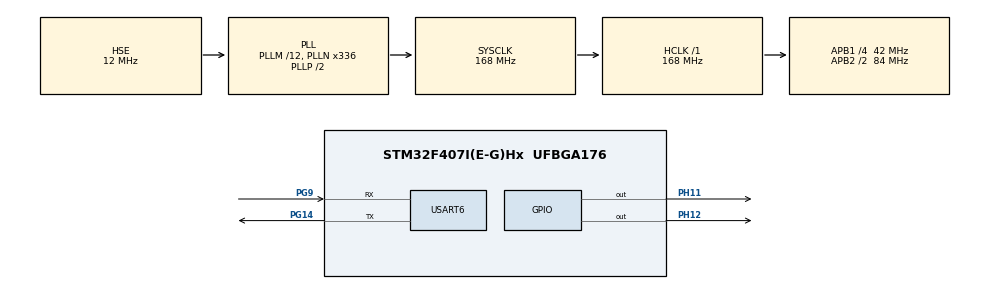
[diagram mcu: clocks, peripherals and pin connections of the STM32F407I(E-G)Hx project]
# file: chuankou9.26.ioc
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Mcu.Family=STM32F4
Mcu.Name=STM32F407I(E-G)Hx
Mcu.Package=UFBGA176
NVIC.PriorityGroup=NVIC_PRIORITYGROUP_4
NVIC.USART6_IRQn=true\:0\:0\:false\:false\:true\:true\:true\:true
PA13.Mode=Serial_Wire
PA13.Signal=SYS_JTMS-SWDIO
PA14.Mode=Serial_Wire
PA14.Signal=SYS_JTCK-SWCLK
PG14.Mode=Asynchronous
PG14.Signal=USART6_TX
PG9.Mode=Asynchronous
PG9.Signal=USART6_RX
PH0-OSC_IN.Mode=HSE-External-Oscillator
PH0-OSC_IN.Signal=RCC_OSC_IN
PH1-OSC_OUT.Mode=HSE-External-Oscillator
PH1-OSC_OUT.Signal=RCC_OSC_OUT
PH11.PinState=GPIO_PIN_SET
PH11.Signal=GPIO_Output
PH12.PinState=GPIO_PIN_SET
PH12.Signal=GPIO_Output
ProjectManager.HeapSize=0x200
ProjectManager.StackSize=0x400
ProjectManager.TargetToolchain=CMake
RCC.48MHZClocksFreq_Value=84000000
RCC.AHBFreq_Value=168000000
RCC.APB1CLKDivider=RCC_HCLK_DIV4
RCC.APB1Freq_Value=42000000
RCC.APB1TimFreq_Value=84000000
RCC.APB2CLKDivider=RCC_HCLK_DIV2
RCC.APB2Freq_Value=84000000
RCC.APB2TimFreq_Value=168000000
RCC.CortexFreq_Value=168000000
RCC.HCLKFreq_Value=168000000
RCC.HSE_VALUE=12000000
RCC.HSI_VALUE=16000000
RCC.LSE_VALUE=32768
RCC.PLLM=12
RCC.PLLN=336
RCC.PLLSourceVirtual=RCC_PLLSOURCE_HSE
RCC.SYSCLKFreq_VALUE=168000000
RCC.SYSCLKSource=RCC_SYSCLKSOURCE_PLLCLK
RCC.VCOOutputFreq_Value=336000000
USART6.VirtualMode=VM_ASYNC
board=custom

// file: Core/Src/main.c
/* USER CODE BEGIN Header */
/**
  ******************************************************************************
  * @file           : main.c
  * @brief          : Main program body
  ******************************************************************************
  * @attention
  *
  * Copyright (c) 2026 STMicroelectronics.
  * All rights reserved.
  *
  * This software is licensed under terms that can be found in the LICENSE file
  * in the root directory of this software component.
  * If no LICENSE file comes with this software, it is provided AS-IS.
  *
  ******************************************************************************
  */
/* USER CODE END Header */
#include "main.h"

UART_HandleTypeDef huart6;

/* USER CODE BEGIN PV */
uint8_t rx_byte;
/* USER CODE END PV */

void SystemClock_Config(void);
static void MX_GPIO_Init(void);
static void MX_USART6_UART_Init(void);

/* USER CODE BEGIN 0 */
#include <string.h> // 用于 strlen
/* USER CODE END 0 */

int main(void)
{

  /* MCU Configuration--------------------------------------------------------*/

  /* Reset of all peripherals, Initializes the Flash interface and the Systick. */
  HAL_Init();

  /* Configure the system clock */
  SystemClock_Config();

  /* Initialize all configured peripherals */
  MX_GPIO_Init();
  MX_USART6_UART_Init();
  /* USER CODE BEGIN 2 */
  char message[] = "Hello World!";
   uint8_t rx_byte;
  //  HAL_UART_Receive_IT(&huart6, &rx_byte, 1);
  /* USER CODE END 2 */

  /* Infinite loop */
  /* USER CODE BEGIN WHILE */
  while (1)
  {
    HAL_UART_Transmit(&huart6, (uint8_t*)message, sizeof(message)-1, 100);
    HAL_Delay(1000);
      HAL_GPIO_WritePin(GPIOH, GPIO_PIN_12, GPIO_PIN_RESET); // 红灯亮
    HAL_GPIO_WritePin(GPIOH, GPIO_PIN_11, GPIO_PIN_SET);   // 绿灯灭
    HAL_Delay(500);

    HAL_GPIO_WritePin(GPIOH, GPIO_PIN_12, GPIO_PIN_SET);   // 红灯灭
    HAL_GPIO_WritePin(GPIOH, GPIO_PIN_11, GPIO_PIN_RESET); // 绿灯亮
    HAL_Delay(500); // 合计 1s 闪烁，与发送同步
    /* USER CODE END WHILE */

  }
}

void SystemClock_Config(void)
{
  RCC_OscInitTypeDef RCC_OscInitStruct = {0};
  RCC_ClkInitTypeDef RCC_ClkInitStruct = {0};

  /** Configure the main internal regulator output voltage
  */
  __HAL_RCC_PWR_CLK_ENABLE();
  __HAL_PWR_VOLTAGESCALING_CONFIG(PWR_REGULATOR_VOLTAGE_SCALE1);

  /** Initializes the RCC Oscillators according to the specified parameters
  * in the RCC_OscInitTypeDef structure.
  */
  RCC_OscInitStruct.OscillatorType = RCC_OSCILLATORTYPE_HSE;
  RCC_OscInitStruct.HSEState = RCC_HSE_ON;
  RCC_OscInitStruct.PLL.PLLState = RCC_PLL_ON;
  RCC_OscInitStruct.PLL.PLLSource = RCC_PLLSOURCE_HSE;
  RCC_OscInitStruct.PLL.PLLM = 12;
  RCC_OscInitStruct.PLL.PLLN = 336;
  RCC_OscInitStruct.PLL.PLLP = RCC_PLLP_DIV2;
  RCC_OscInitStruct.PLL.PLLQ = 4;
  if (HAL_RCC_OscConfig(&RCC_OscInitStruct) != HAL_OK)
  {
    Error_Handler();
  }

  /** Initializes the CPU, AHB and APB buses clocks
  */
  RCC_ClkInitStruct.ClockType = RCC_CLOCKTYPE_HCLK|RCC_CLOCKTYPE_SYSCLK
                              |RCC_CLOCKTYPE_PCLK1|RCC_CLOCKTYPE_PCLK2;
  RCC_ClkInitStruct.SYSCLKSource = RCC_SYSCLKSOURCE_PLLCLK;
  RCC_ClkInitStruct.AHBCLKDivider = RCC_SYSCLK_DIV1;
  RCC_ClkInitStruct.APB1CLKDivider = RCC_HCLK_DIV4;
  RCC_ClkInitStruct.APB2CLKDivider = RCC_HCLK_DIV2;

  if (HAL_RCC_ClockConfig(&RCC_ClkInitStruct, FLASH_LATENCY_5) != HAL_OK)
  {
    Error_Handler();
  }
}

static void MX_USART6_UART_Init(void)
{

  huart6.Instance = USART6;
  huart6.Init.BaudRate = 115200;
  huart6.Init.WordLength = UART_WORDLENGTH_8B;
  huart6.Init.StopBits = UART_STOPBITS_1;
  huart6.Init.Parity = UART_PARITY_NONE;
  huart6.Init.Mode = UART_MODE_TX_RX;
  huart6.Init.HwFlowCtl = UART_HWCONTROL_NONE;
  huart6.Init.OverSampling = UART_OVERSAMPLING_16;
  if (HAL_UART_Init(&huart6) != HAL_OK)
  {
    Error_Handler();
  }

}

static void MX_GPIO_Init(void)
{
  GPIO_InitTypeDef GPIO_InitStruct = {0};

  /* GPIO Ports Clock Enable */
  __HAL_RCC_GPIOG_CLK_ENABLE();
  __HAL_RCC_GPIOA_CLK_ENABLE();
  __HAL_RCC_GPIOH_CLK_ENABLE();

  /*Configure GPIO pin Output Level */
  HAL_GPIO_WritePin(GPIOH, GPIO_PIN_12|GPIO_PIN_11, GPIO_PIN_SET);

  /*Configure GPIO pins : PH12 PH11 */
  GPIO_InitStruct.Pin = GPIO_PIN_12|GPIO_PIN_11;
  GPIO_InitStruct.Mode = GPIO_MODE_OUTPUT_PP;
  GPIO_InitStruct.Pull = GPIO_NOPULL;
  GPIO_InitStruct.Speed = GPIO_SPEED_FREQ_LOW;
  HAL_GPIO_Init(GPIOH, &GPIO_InitStruct);

}

/* USER CODE BEGIN 4 */
// 串口接收完成中断回调函数（实现“发什么回什么”）
void HAL_UART_RxCpltCallback(UART_HandleTypeDef *huart)
{
  if(huart->Instance == USART6)
  {
    // 1. 原样发回（回环）
    HAL_UART_Transmit(&huart6, &rx_byte, 1, 100);

    // 2. 绿灯翻转提示收到数据（可选）
    HAL_GPIO_TogglePin(GPIOH, GPIO_PIN_11);

    // 3. 【关键】重新启动接收，否则只触发一次
    HAL_UART_Receive_IT(&huart6, &rx_byte, 1);
  }
}
/* USER CODE END 4 */

void Error_Handler(void)
{
  __disable_irq();
  while (1)
  {
  }
}
